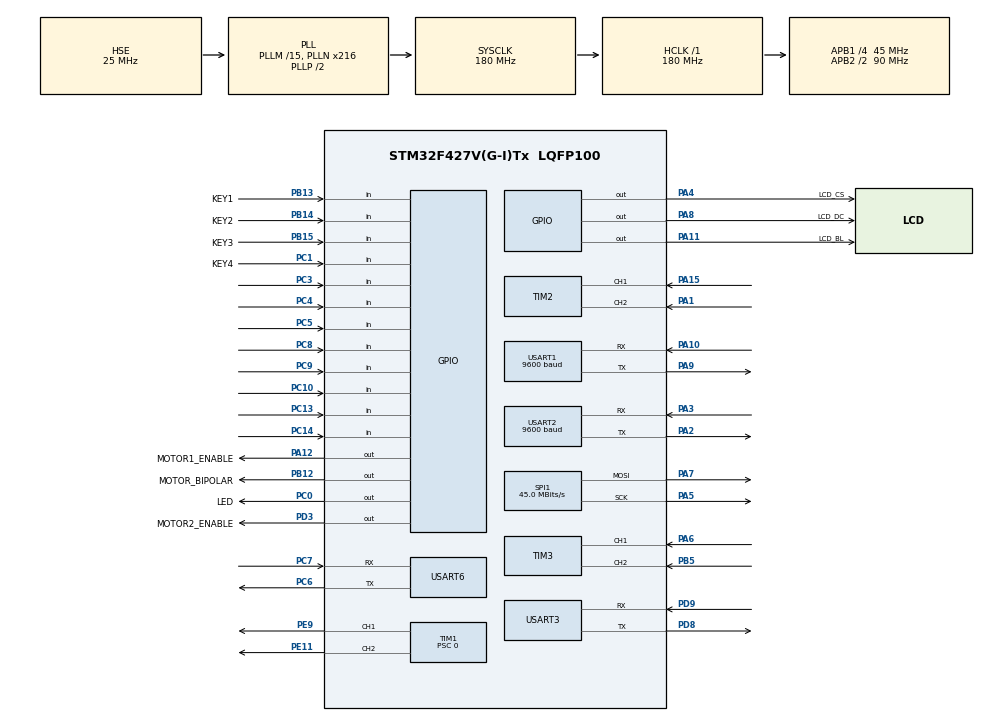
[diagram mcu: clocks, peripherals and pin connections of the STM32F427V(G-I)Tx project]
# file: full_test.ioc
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Dma.Request0=USART3_TX
Dma.Request1=USART3_RX
Dma.Request2=USART6_RX
Dma.Request3=USART6_TX
Dma.USART3_RX.1.Direction=DMA_PERIPH_TO_MEMORY
Dma.USART3_RX.1.FIFOMode=DMA_FIFOMODE_DISABLE
Dma.USART3_RX.1.Instance=DMA1_Stream1
Dma.USART3_RX.1.MemDataAlignment=DMA_MDATAALIGN_BYTE
Dma.USART3_RX.1.MemInc=DMA_MINC_ENABLE
Dma.USART3_RX.1.Mode=DMA_NORMAL
Dma.USART3_RX.1.PeriphDataAlignment=DMA_PDATAALIGN_BYTE
Dma.USART3_RX.1.PeriphInc=DMA_PINC_DISABLE
Dma.USART3_RX.1.Priority=DMA_PRIORITY_LOW
Dma.USART3_TX.0.Direction=DMA_MEMORY_TO_PERIPH
Dma.USART3_TX.0.FIFOMode=DMA_FIFOMODE_DISABLE
Dma.USART3_TX.0.Instance=DMA1_Stream3
Dma.USART3_TX.0.MemDataAlignment=DMA_MDATAALIGN_BYTE
Dma.USART3_TX.0.MemInc=DMA_MINC_ENABLE
Dma.USART3_TX.0.Mode=DMA_NORMAL
Dma.USART3_TX.0.PeriphDataAlignment=DMA_PDATAALIGN_BYTE
Dma.USART3_TX.0.PeriphInc=DMA_PINC_DISABLE
Dma.USART3_TX.0.Priority=DMA_PRIORITY_LOW
Dma.USART6_RX.2.Direction=DMA_PERIPH_TO_MEMORY
Dma.USART6_RX.2.FIFOMode=DMA_FIFOMODE_DISABLE
Dma.USART6_RX.2.Instance=DMA2_Stream1
Dma.USART6_RX.2.MemDataAlignment=DMA_MDATAALIGN_BYTE
Dma.USART6_RX.2.MemInc=DMA_MINC_ENABLE
Dma.USART6_RX.2.Mode=DMA_NORMAL
Dma.USART6_RX.2.PeriphDataAlignment=DMA_PDATAALIGN_BYTE
Dma.USART6_RX.2.PeriphInc=DMA_PINC_DISABLE
Dma.USART6_RX.2.Priority=DMA_PRIORITY_LOW
Dma.USART6_TX.3.Direction=DMA_MEMORY_TO_PERIPH
Dma.USART6_TX.3.FIFOMode=DMA_FIFOMODE_DISABLE
Dma.USART6_TX.3.Instance=DMA2_Stream6
Dma.USART6_TX.3.MemDataAlignment=DMA_MDATAALIGN_BYTE
Dma.USART6_TX.3.MemInc=DMA_MINC_ENABLE
Dma.USART6_TX.3.Mode=DMA_NORMAL
Dma.USART6_TX.3.PeriphDataAlignment=DMA_PDATAALIGN_BYTE
Dma.USART6_TX.3.PeriphInc=DMA_PINC_DISABLE
Dma.USART6_TX.3.Priority=DMA_PRIORITY_LOW
FREERTOS.Tasks01=defaultTask,24,128,StartDefaultTask,Default,NULL,Dynamic,NULL,NULL
Mcu.Family=STM32F4
Mcu.Name=STM32F427V(G-I)Tx
Mcu.Package=LQFP100
NVIC.DMA1_Stream1_IRQn=true\:5\:0\:false\:false\:true\:true\:false\:true\:true
NVIC.DMA1_Stream3_IRQn=true\:5\:0\:false\:false\:true\:true\:false\:true\:true
NVIC.DMA2_Stream1_IRQn=true\:5\:0\:false\:false\:true\:true\:false\:true\:true
NVIC.DMA2_Stream6_IRQn=true\:5\:0\:false\:false\:true\:true\:false\:true\:true
NVIC.PriorityGroup=NVIC_PRIORITYGROUP_4
NVIC.TIM1_BRK_TIM9_IRQn=true\:5\:0\:false\:false\:true\:true\:true\:true\:true
NVIC.TIM2_IRQn=true\:5\:0\:false\:false\:true\:true\:true\:true\:true
NVIC.TIM3_IRQn=true\:5\:0\:false\:false\:true\:true\:true\:true\:true
NVIC.TIM5_IRQn=true\:5\:0\:false\:false\:true\:true\:true\:true\:true
NVIC.TIM6_DAC_IRQn=true\:5\:0\:false\:false\:true\:true\:true\:true\:true
NVIC.TIM7_IRQn=true\:15\:0\:false\:false\:true\:false\:false\:true\:true
NVIC.TimeBase=TIM7_IRQn
NVIC.TimeBaseIP=TIM7
NVIC.USART1_IRQn=true\:5\:0\:false\:false\:true\:true\:true\:true\:true
NVIC.USART2_IRQn=true\:5\:0\:false\:false\:true\:true\:false\:true\:true
NVIC.USART3_IRQn=true\:5\:0\:false\:false\:true\:true\:true\:true\:true
NVIC.USART6_IRQn=true\:5\:0\:false\:false\:true\:true\:true\:true\:true
PA1.Signal=S_TIM2_CH2
PA10.Mode=Asynchronous
PA10.Signal=USART1_RX
PA11.GPIO_Label=LCD_BL
PA11.PinState=GPIO_PIN_SET
PA11.Signal=GPIO_Output
PA12.GPIO_Label=MOTOR1_ENABLE
PA12.Signal=GPIO_Output
PA13.Mode=Serial_Wire
PA13.Signal=SYS_JTMS-SWDIO
PA14.Mode=Serial_Wire
PA14.Signal=SYS_JTCK-SWCLK
PA15.Signal=S_TIM2_CH1_ETR
PA2.Mode=Asynchronous
PA2.Signal=USART2_TX
PA3.Mode=Asynchronous
PA3.Signal=USART2_RX
PA4.GPIO_Label=LCD_CS
PA4.GPIO_PuPd=GPIO_PULLUP
PA4.PinState=GPIO_PIN_SET
PA4.Signal=GPIO_Output
PA5.Mode=TX_Only_Simplex_Unidirect_Master
PA5.Signal=SPI1_SCK
PA6.Signal=S_TIM3_CH1
PA7.Mode=TX_Only_Simplex_Unidirect_Master
PA7.Signal=SPI1_MOSI
PA8.GPIO_Label=LCD_DC
PA8.Signal=GPIO_Output
PA9.Mode=Asynchronous
PA9.Signal=USART1_TX
PB12.GPIO_Label=MOTOR_BIPOLAR
PB12.Signal=GPIO_Output
PB13.GPIO_Label=KEY1
PB13.GPIO_PuPd=GPIO_PULLUP
PB13.Signal=GPIO_Input
PB14.GPIO_Label=KEY2
PB14.GPIO_PuPd=GPIO_PULLUP
PB14.Signal=GPIO_Input
PB15.GPIO_Label=KEY3
PB15.GPIO_PuPd=GPIO_PULLUP
PB15.Signal=GPIO_Input
PB5.Signal=S_TIM3_CH2
PC0.GPIO_Label=LED
PC0.Signal=GPIO_Output
PC1.GPIO_Label=KEY4
PC1.GPIO_PuPd=GPIO_PULLUP
PC1.Signal=GPIO_Input
PC10.GPIO_PuPd=GPIO_PULLDOWN
PC10.Signal=GPIO_Input
PC13.GPIO_PuPd=GPIO_PULLDOWN
PC13.Signal=GPIO_Input
PC14/OSC32_IN.GPIO_PuPd=GPIO_PULLDOWN
PC14/OSC32_IN.Signal=GPIO_Input
PC3.GPIO_PuPd=GPIO_PULLDOWN
PC3.Signal=GPIO_Input
PC4.GPIO_PuPd=GPIO_PULLDOWN
PC4.Signal=GPIO_Input
PC5.GPIO_PuPd=GPIO_PULLDOWN
PC5.Signal=GPIO_Input
PC6.Mode=Asynchronous
PC6.Signal=USART6_TX
PC7.Mode=Asynchronous
PC7.Signal=USART6_RX
PC8.GPIO_PuPd=GPIO_PULLDOWN
PC8.Signal=GPIO_Input
PC9.GPIO_PuPd=GPIO_PULLDOWN
PC9.Signal=GPIO_Input
PD3.GPIO_Label=MOTOR2_ENABLE
PD3.Signal=GPIO_Output
PD8.Mode=Asynchronous
PD8.Signal=USART3_TX
PD9.Mode=Asynchronous
PD9.Signal=USART3_RX
PE11.Signal=S_TIM1_CH2
PE9.Signal=S_TIM1_CH1
PH0/OSC_IN.Mode=HSE-External-Clock-Source
PH0/OSC_IN.Signal=RCC_OSC_IN
PH1/OSC_OUT.Mode=HSE-External-Clock-Source
PH1/OSC_OUT.Signal=RCC_OSC_OUT
ProjectManager.HeapSize=0x200
ProjectManager.StackSize=0x400
ProjectManager.TargetToolchain=Makefile
RCC.48MHZClocksFreq_Value=90000000
RCC.AHBFreq_Value=180000000
RCC.APB1CLKDivider=RCC_HCLK_DIV4
RCC.APB1Freq_Value=45000000
RCC.APB1TimFreq_Value=90000000
RCC.APB2CLKDivider=RCC_HCLK_DIV2
RCC.APB2Freq_Value=90000000
RCC.APB2TimFreq_Value=180000000
RCC.CortexFreq_Value=180000000
RCC.HCLKFreq_Value=180000000
RCC.HSE_VALUE=25000000
RCC.HSI_VALUE=16000000
RCC.LSE_VALUE=32768
RCC.PLLM=15
RCC.PLLN=216
RCC.PLLSourceVirtual=RCC_PLLSOURCE_HSE
RCC.SYSCLKFreq_VALUE=180000000
RCC.SYSCLKSource=RCC_SYSCLKSOURCE_PLLCLK
RCC.VCOOutputFreq_Value=360000000
SH.S_TIM1_CH1.0=TIM1_CH1,PWM Generation1 CH1
SH.S_TIM1_CH2.0=TIM1_CH2,PWM Generation2 CH2
SH.S_TIM2_CH1_ETR.0=TIM2_CH1,Encoder_Interface
SH.S_TIM2_CH2.0=TIM2_CH2,Encoder_Interface
SH.S_TIM3_CH1.0=TIM3_CH1,Encoder_Interface
SH.S_TIM3_CH2.0=TIM3_CH2,Encoder_Interface
SPI1.CalculateBaudRate=45.0 MBits/s
SPI1.Direction=SPI_DIRECTION_2LINES
SPI1.Mode=SPI_MODE_MASTER
SPI1.VirtualType=VM_MASTER
STMicroelectronics.X-CUBE-ALGOBUILD.1.5.0.LibraryCcDSPOoLibraryJjDSPOoLibrary=true
TIM1.Channel-PWM\ Generation1\ CH1=TIM_CHANNEL_1
TIM1.Channel-PWM\ Generation2\ CH2=TIM_CHANNEL_2
TIM1.Period=8999
TIM1.Prescaler=0
TIM4.Period=8999
TIM4.Prescaler=9
TIM5.Period=8999
TIM5.Prescaler=99
TIM6.Period=8999
TIM6.Prescaler=49
TIM9.Period=9999
TIM9.Prescaler=179
USART1.BaudRate=9600
USART1.VirtualMode=VM_ASYNC
USART2.BaudRate=9600
USART2.VirtualMode=VM_ASYNC
USART3.VirtualMode=VM_ASYNC
USART6.VirtualMode=VM_ASYNC
VP_FREERTOS_VS_CMSIS_V2.Mode=CMSIS_V2
VP_STMicroelectronics.X-CUBE-ALGOBUILD_VS_DSPOoLibraryJjLibrary_1.5.0_1.5.0.Mode=DSPOoLibraryJjLibrary
VP_SYS_VS_tim7.Mode=TIM7
VP_TIM1_VS_ClockSourceINT.Mode=Internal
VP_TIM4_VS_ClockSourceINT.Mode=Internal
VP_TIM5_VS_ClockSourceINT.Mode=Internal
VP_TIM6_VS_ClockSourceINT.Mode=Enable_Timer
VP_TIM9_VS_ClockSourceINT.Mode=Internal
board=custom

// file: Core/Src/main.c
/* USER CODE BEGIN Header */
/**
 ******************************************************************************
 * @file           : main.c
 * @brief          : Main program body
 ******************************************************************************
 * @attention
 *
 * Copyright (c) 2026 STMicroelectronics.
 * All rights reserved.
 *
 * This software is licensed under terms that can be found in the LICENSE file
 * in the root directory of this software component.
 * If no LICENSE file comes with this software, it is provided AS-IS.
 *
 ******************************************************************************
 */
/* USER CODE END Header */
#include "main.h"
#include "cmsis_os.h"
#include "dma.h"
#include "spi.h"
#include "tim.h"
#include "usart.h"
#include "gpio.h"

/* USER CODE BEGIN Includes */
#include "stdio.h"
#include "stdlib.h"
// app
#include "init.h"
#include "key.h"
#include "gray.h"

// bsp
#include "motor.h"
#include "multi_button.h"
#include "Emm_V5.h"
#include "pid.h"
#include "hwt.h"
#include "lcd_fonts.h"
#include "lcd_spi_200.h"
#include "filter.h"
/* USER CODE END Includes */

void SystemClock_Config(void);
void MX_FREERTOS_Init(void);

/* USER CODE BEGIN 0 */

uint8_t RxData;
// float PID_K[3]={15.0,0.2,0.0};
// float PID_K[3] = {10.0, 0.5, 0.0};

// float PID_K[3] = {10.0, 2.0, 0.0};/*now_use*/
/*位置环*/
float PID_K[3] = {15.0, 0.0, 20.0};

int _write(int file, char *ptr, int len)
{
  HAL_UART_Transmit(&huart3, (uint8_t *)ptr, len, HAL_MAX_DELAY);
  return len;
}

/* USER CODE END 0 */

int main(void)
{

  /* MCU Configuration--------------------------------------------------------*/

  /* Reset of all peripherals, Initializes the Flash interface and the Systick. */
  HAL_Init();

  /* Configure the system clock */
  SystemClock_Config();

  /* USER CODE BEGIN SysInit */
  HAL_Delay(1000);

  /* USER CODE END SysInit */

  /* Initialize all configured peripherals */
  MX_GPIO_Init();
  MX_DMA_Init();
  MX_TIM1_Init();
  MX_TIM2_Init();
  MX_TIM3_Init();
  MX_TIM9_Init();
  MX_USART3_UART_Init();
  MX_USART1_UART_Init();
  MX_USART2_UART_Init();
  MX_USART6_UART_Init();
  MX_SPI1_Init();
  MX_TIM4_Init();
  MX_TIM5_Init();
  MX_TIM6_Init();
  /* USER CODE BEGIN 2 */

  Tim_Init();     /*�?????启pwm，encoder，定时器*/
  Motor_Init();   /*4500占空比，双极性，使能*/
  SPI_LCD_Init(); /*lcd屏幕启动*/
  /*�?????启第�?????个motor的pid�?????*/
  PidInit(&motor_pid[0], POSITION_PID, 4500, 3000, 0.0f, 10.0, 2.0,0.0);
  PidInit(&motor_pid[1], POSITION_PID, 4500, 3000, 0.0f, 10.0, 2.0,0.0);
  motor_speed[0].target_vel = 0.0;
  motor_speed[1].target_vel = 0.0;
  PidInit(&gray_pid, POSITION_PID, 200, 20,0, PID_K[0], PID_K[1], PID_K[2]);

  /*按键*/
  key();

  /*hwt*/
  hwt_Init();

  /* USER CODE END 2 */

  /* Init scheduler */
  osKernelInitialize();  /* Call init function for freertos objects (in freertos.c) */
  MX_FREERTOS_Init();

  /* Start scheduler */
  osKernelStart();

  /* We should never get here as control is now taken by the scheduler */
  /* Infinite loop */
  while (1)
  {

  }
}

void SystemClock_Config(void)
{
  RCC_OscInitTypeDef RCC_OscInitStruct = {0};
  RCC_ClkInitTypeDef RCC_ClkInitStruct = {0};

  /** Configure the main internal regulator output voltage
  */
  __HAL_RCC_PWR_CLK_ENABLE();
  __HAL_PWR_VOLTAGESCALING_CONFIG(PWR_REGULATOR_VOLTAGE_SCALE1);

  /** Initializes the RCC Oscillators according to the specified parameters
  * in the RCC_OscInitTypeDef structure.
  */
  RCC_OscInitStruct.OscillatorType = RCC_OSCILLATORTYPE_HSE;
  RCC_OscInitStruct.HSEState = RCC_HSE_BYPASS;
  RCC_OscInitStruct.PLL.PLLState = RCC_PLL_ON;
  RCC_OscInitStruct.PLL.PLLSource = RCC_PLLSOURCE_HSE;
  RCC_OscInitStruct.PLL.PLLM = 15;
  RCC_OscInitStruct.PLL.PLLN = 216;
  RCC_OscInitStruct.PLL.PLLP = RCC_PLLP_DIV2;
  RCC_OscInitStruct.PLL.PLLQ = 4;
  if (HAL_RCC_OscConfig(&RCC_OscInitStruct) != HAL_OK)
  {
    Error_Handler();
  }

  /** Activate the Over-Drive mode
  */
  if (HAL_PWREx_EnableOverDrive() != HAL_OK)
  {
    Error_Handler();
  }

  /** Initializes the CPU, AHB and APB buses clocks
  */
  RCC_ClkInitStruct.ClockType = RCC_CLOCKTYPE_HCLK|RCC_CLOCKTYPE_SYSCLK
                              |RCC_CLOCKTYPE_PCLK1|RCC_CLOCKTYPE_PCLK2;
  RCC_ClkInitStruct.SYSCLKSource = RCC_SYSCLKSOURCE_PLLCLK;
  RCC_ClkInitStruct.AHBCLKDivider = RCC_SYSCLK_DIV1;
  RCC_ClkInitStruct.APB1CLKDivider = RCC_HCLK_DIV4;
  RCC_ClkInitStruct.APB2CLKDivider = RCC_HCLK_DIV2;

  if (HAL_RCC_ClockConfig(&RCC_ClkInitStruct, FLASH_LATENCY_5) != HAL_OK)
  {
    Error_Handler();
  }
}

/* USER CODE BEGIN 4 */

/*usart中断回调�?????3->vofa�?????1-> hwt  */
void HAL_UART_RxCpltCallback(UART_HandleTypeDef *huart)
{

  if (huart == &huart3)
  {
    static uint8_t RxIndex;
    static uint8_t RxPacket[128];
    static enum {
      Wait_Head,           // 等待包头
      Wait_Flag,           // 等待接收标识
      Wait_Data            // 等待接收数据
    } RxState = Wait_Head; // 初始状�?�为等待�?????????

    static enum {
      CMD_NONE,              // 空状�?????????
      CMD_Kp,                // Kp
      CMD_Ki,                // Ki
      CMD_Kd                 // Kd
    } CurrentCmd = CMD_NONE; // 初始为空状�??

    switch (RxState)
    {
    case Wait_Head:
      if (RxData == 'K')
      {
        RxState = Wait_Flag;
      }
      break;
    case Wait_Flag:
      if (RxData == 'P')
      {
        CurrentCmd = CMD_Kp;
        RxState = Wait_Data;
        RxIndex = 0;
      }
      else if (RxData == 'I')
      {
        CurrentCmd = CMD_Ki;
        RxState = Wait_Data;
        RxIndex = 0;
      }
      else if (RxData == 'D')
      {
        CurrentCmd = CMD_Kd;
        RxState = Wait_Data;
        RxIndex = 0;
      }
      else
        RxState = Wait_Head;
      break;

    case Wait_Data:
      if (RxData == 'M')
      {
        RxPacket[RxIndex] = '\0';
        uint8_t *endptr;
        float NewValue = strtof((char *)RxPacket, (char **)&endptr); // 双重转换
        if (endptr != RxPacket && *endptr == '\0')
        {
          switch (CurrentCmd)
          {
          case CMD_Kp:
            PID_K[0] = NewValue;
            // printf("Kp updated:%.2f\n",PID_K[0]);
            break;
          case CMD_Ki:
            PID_K[1] = NewValue;
            // printf("Ki updated:%.2f\n",PID_K[1]);
            break;
          case CMD_Kd:
            PID_K[2] = NewValue;
            // printf("Kd updated:%.2f\n",PID_K[2]);
            break;
          case CMD_NONE:
            break;
          }
        }
        else
          // printf("Error:%s\n",RxPacket);
          RxState = Wait_Head;
        CurrentCmd = CMD_NONE;
      }
      else
      {
        if (RxIndex < sizeof(RxPacket) - 1)
        {
          RxPacket[RxIndex++] = RxData;
        }
        else
        {
          RxState = Wait_Head;
        }
      }
      break;
    default:
      RxState = Wait_Head;
      break;
    }
    HAL_UART_Receive_IT(&huart3, &RxData, 1);
  }

  if (huart->Instance == USART1)
  {

    static uint8_t buf[FRAME_SIZE];
    static uint8_t idx = 0;
    static uint8_t step = 0;

    switch (step)
    {
    case 0:
      if (rx_byte == 0x55)
      {
        buf[0] = 0x55;
        step = 1;
      }
      break;

    case 1:
      if (rx_byte == 0x53)
      {
        buf[1] = 0x53;
        idx = 2;
        step = 2;
      }
      else if (rx_byte == 0x55)
      {
        buf[0] = 0x55;
      }
      else
      {
        step = 0;
      }
      break;

    default:
      buf[idx++] = rx_byte;
      if (idx >= FRAME_SIZE)
      {
        ParseYaw(buf, &yaw);
        step = 0;
      }
      break;
    }

    // LCD_DisplayDecimals(10, 10, yaw, 6, 2);
    HAL_UART_Receive_IT(&huart1, &rx_byte, 1);
  }
}

volatile uint8_t speed_update_flag = 0;
/* USER CODE END 4 */

void HAL_TIM_PeriodElapsedCallback(TIM_HandleTypeDef *htim)
{
  if (htim->Instance == TIM7) {
    HAL_IncTick();
  }
  /* USER CODE BEGIN Callback 1 */
  else if (htim->Instance == TIM6) // 5ms
  {
    button_ticks();
  }
  else if (htim->Instance == TIM9) // 10ms   编码器计算并vofa
  {
    static int counter =0;
    counter++;
    gray_pid.p = PID_K[0];
    gray_pid.i = PID_K[1];
    gray_pid.d = PID_K[2];
    get_error(&error);
    float vel_diff = PidCalc(&gray_pid, error, 0);
    if (counter == 3)
    {
      // get_error(&error);
      // float vel_diff = PidCalc(&gray_pid, error, 0);
      motor_speed[0].target_vel = Speed_base + vel_diff;
      motor_speed[1].target_vel = Speed_base - vel_diff;
      counter=0;
    }

    Get_Motor_Speed(&motor_speed[0].now_vel, &htim2);
    Get_Motor_Speed(&motor_speed[1].now_vel, &htim3);
    motor_speed[0].now_vel = moveAverageFilter_Update(&speed_filter[0], motor_speed[0].now_vel);
    motor_speed[1].now_vel = moveAverageFilter_Update(&speed_filter[1], motor_speed[1].now_vel);
    speed_update_flag = 1;
    // printf("Speed_1,Speed_2,pos_out:%.2f,%.2f,%.2f\n", motor_speed[0].now_vel, motor_speed[1].now_vel, motor_pid[0].pos_out);
    // motor_pid[0].p = PID_K[0];
    // motor_pid[0].i = PID_K[1];
    // motor_pid[0].d = PID_K[2];
    // motor_pid[1].p = PID_K[0];
    // motor_pid[1].i = PID_K[1];
    // motor_pid[1].d = PID_K[2];
    float pid_output_1 = PidCalc(&motor_pid[0], motor_speed[0].now_vel, motor_speed[0].target_vel);
    float pid_output_2 = PidCalc(&motor_pid[1], motor_speed[1].now_vel, motor_speed[1].target_vel);
    Motor_Set_Vel_1((int16_t)pid_output_1);
    Motor_Set_Vel_2((int16_t)pid_output_2);

  }

  else if (htim->Instance == TIM5) // 10ms
  {
    if (speed_update_flag == 1)
    {
      speed_update_flag = 0;
      // printf("Speed_1,Speed_2,pos_out:%.2f,%.2f,%.2f\n", motor_speed[0].now_vel, motor_speed[1].now_vel, motor_pid[0].pos_out);
      // printf("Speed_1_t,Speed_2_t:%.2f,%.2f\n", motor_speed[0].target_vel, motor_speed[1].target_vel);
      printf("yaw:%.2f\n", yaw);
    }
    // motor_pid[0].i = PID_K[1];
    // motor_pid[0].d = PID_K[2];
    // motor_pid[1].p = PID_K[0];
    // motor_pid[1].i = PID_K[1];
    // motor_pid[1].d = PID_K[2];
    // float pid_output_1 = PidCalc(&motor_pid[0], motor_speed[0].now_vel, motor_speed[0].target_vel);
    // float pid_output_2 = PidCalc(&motor_pid[1], motor_speed[1].now_vel, motor_speed[1].target_vel);
    // Motor_Set_Vel_1((int16_t)pid_output_1);
    // Motor_Set_Vel_2((int16_t)pid_output_2);
  }

  /* USER CODE END Callback 1 */
}

void Error_Handler(void)
{
  __disable_irq();
  while (1)
  {
  }
}

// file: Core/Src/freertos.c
/* USER CODE BEGIN Header */
/**
  ******************************************************************************
  * File Name          : freertos.c
  * Description        : Code for freertos applications
  ******************************************************************************
  * @attention
  *
  * Copyright (c) 2026 STMicroelectronics.
  * All rights reserved.
  *
  * This software is licensed under terms that can be found in the LICENSE file
  * in the root directory of this software component.
  * If no LICENSE file comes with this software, it is provided AS-IS.
  *
  ******************************************************************************
  */
/* USER CODE END Header */

#include "FreeRTOS.h"
#include "task.h"
#include "main.h"
#include "cmsis_os.h"

/* Definitions for Task1 */
osThreadId_t Task1Handle;
const osThreadAttr_t Task1_attributes = {
  .name = "Task1",
  .stack_size = 128 * 4,
  .priority = (osPriority_t) osPriorityNormal,
};
/* Definitions for Task2 */
osThreadId_t Task2Handle;
const osThreadAttr_t Task2_attributes = {
  .name = "Task2",
  .stack_size = 128 * 4,
  .priority = (osPriority_t) osPriorityNormal,
};
/* Definitions for Task3 */
osThreadId_t Task3Handle;
const osThreadAttr_t Task3_attributes = {
  .name = "Task3",
  .stack_size = 128 * 4,
  .priority = (osPriority_t) osPriorityNormal,
};
/* Definitions for Task4 */
osThreadId_t Task4Handle;
const osThreadAttr_t Task4_attributes = {
  .name = "Task4",
  .stack_size = 128 * 4,
  .priority = (osPriority_t) osPriorityNormal,
};
/* Definitions for TaskStackGet */
osThreadId_t TaskStackGetHandle;
const osThreadAttr_t TaskStackGet_attributes = {
  .name = "TaskStackGet",
  .stack_size = 128 * 4,
  .priority = (osPriority_t) osPriorityHigh,
};
/* Definitions for myEvent01 */
osEventFlagsId_t myEvent01Handle;
const osEventFlagsAttr_t myEvent01_attributes = {
  .name = "myEvent01"
};

void StartTask1(void *argument);
void StartTask2(void *argument);
void StartTask3(void *argument);
void StartTask4(void *argument);
void StartTaskStackGet(void *argument);

void MX_FREERTOS_Init(void); /* (MISRA C 2004 rule 8.1) */

void MX_FREERTOS_Init(void) {

  /* Create the thread(s) */
  /* creation of Task1 */
  Task1Handle = osThreadNew(StartTask1, NULL, &Task1_attributes);

  /* creation of Task2 */
  Task2Handle = osThreadNew(StartTask2, NULL, &Task2_attributes);

  /* creation of Task3 */
  Task3Handle = osThreadNew(StartTask3, NULL, &Task3_attributes);

  /* creation of Task4 */
  Task4Handle = osThreadNew(StartTask4, NULL, &Task4_attributes);

  /* creation of TaskStackGet */
  TaskStackGetHandle = osThreadNew(StartTaskStackGet, NULL, &TaskStackGet_attributes);

  /* Create the event(s) */
  /* creation of myEvent01 */
  myEvent01Handle = osEventFlagsNew(&myEvent01_attributes);

}

void StartTask1(void *argument)
{
  for(;;)
  {
    osDelay(1);
  }
}

void StartTask2(void *argument)
{
  for(;;)
  {
    osDelay(1);
  }
}

void StartTask3(void *argument)
{
  for(;;)
  {
    osDelay(1);
  }
}

void StartTask4(void *argument)
{
  for(;;)
  {
    osDelay(1);
  }
}

void StartTaskStackGet(void *argument)
{
  for(;;)
  {
    osDelay(1);
  }
}
